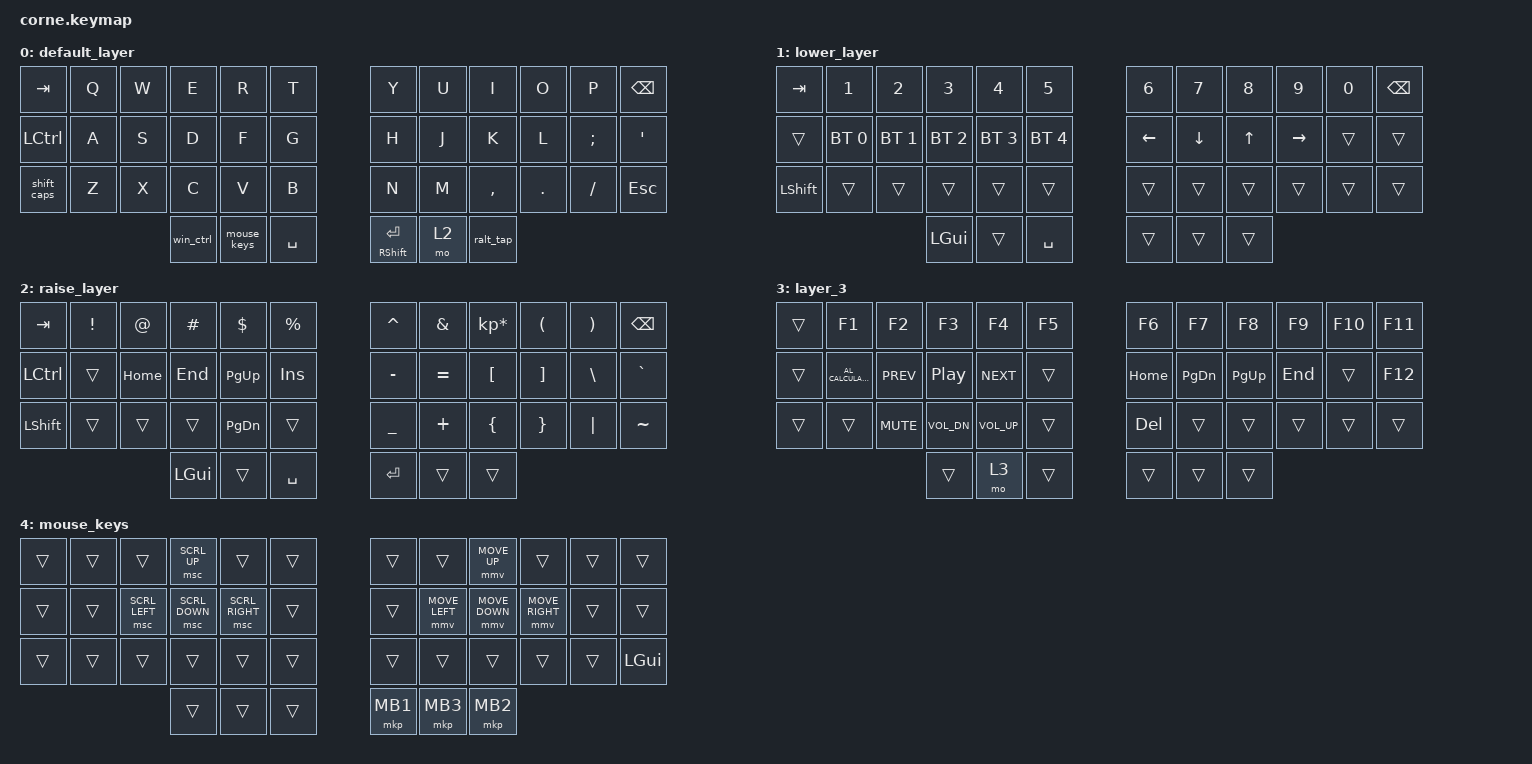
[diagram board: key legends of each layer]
/*
 * Copyright (c) 2020 The ZMK Contributors
 *
 * SPDX-License-Identifier: MIT
 */

#include <behaviors.dtsi>
#include <dt-bindings/zmk/bt.h>
#include <dt-bindings/zmk/keys.h>
#include <dt-bindings/zmk/pointing.h>

/ {
    combos {
        compatible = "zmk,combos";

        BT_Clear {
            bindings = <&bt BT_CLR>;
            key-positions = <5 6 37 40>;
        };
    };

    behaviors {
        win_ctrl: win_ctrl {
            compatible = "zmk,behavior-tap-dance";
            label = "WIN_CTRL";
            #binding-cells = <0>;
            tapping-term-ms = <200>;
            bindings = <&kp LGUI>, <&kp LEFT_CONTROL>;
        };

        shift_caps: shift_caps {
            compatible = "zmk,behavior-tap-dance";
            label = "SHIFT_CAPS";
            #binding-cells = <0>;
            bindings = <&kp LEFT_SHIFT>, <&kp CAPS>;

            tapping-term-ms = <200>;
        };

        mouse_keys: mouse_keys {
            compatible = "zmk,behavior-tap-dance";
            label = "MOUSE_KEYS";
            #binding-cells = <0>;
            bindings = <&mo 1>, <&mo 4>;

            tapping-term-ms = <333>;
        };

        ralt_tap: ralt_tap {
            compatible = "zmk,behavior-tap-dance";
            label = "RALT_TAP";
            #binding-cells = <0>;
            tapping-term-ms = <200>;
            bindings = <&kp LALT>, <&kp RALT>;
        };
    };

    keymap {
        compatible = "zmk,keymap";

        default_layer {
            // -----------------------------------------------------------------------------------------
            // |  TAB |  Q  |  W  |  E  |  R  |  T  |   |  Y  |  U   |  I  |  O  |  P  | BKSP |
            // | CTRL |  A  |  S  |  D  |  F  |  G  |   |  H  |  J   |  K  |  L  |  ;  |  '   |
            // | SHFT |  Z  |  X  |  C  |  V  |  B  |   |  N  |  M   |  ,  |  .  |  /  | ESC  |
            //                    | GUI | LWR | SPC |   | ENT | RSE  | ALT |

            bindings = <
&kp TAB      &kp Q  &kp W  &kp E      &kp R        &kp T        &kp Y              &kp U  &kp I      &kp O    &kp P     &kp BSPC
&kp LCTRL    &kp A  &kp S  &kp D      &kp F        &kp G        &kp H              &kp J  &kp K      &kp L    &kp SEMI  &kp SQT
&shift_caps  &kp Z  &kp X  &kp C      &kp V        &kp B        &kp N              &kp M  &kp COMMA  &kp DOT  &kp FSLH  &kp ESC
                           &win_ctrl  &mouse_keys  &kp SPACE    &mt RSHIFT RETURN  &mo 2  &ralt_tap
            >;
        };

        lower_layer {
            // -----------------------------------------------------------------------------------------
            // |  TAB |  1  |  2  |  3  |  4  |  5  |   |  6  |  7  |  8  |  9  |  0  | BKSP |
            // | BTCLR| BT1 | BT2 | BT3 | BT4 | BT5 |   | LFT | DWN |  UP | RGT |     |      |
            // | SHFT |     |     |     |     |     |   |     |     |     |     |     |      |
            //                    | GUI |     | SPC |   | ENT |     | ALT |

            bindings = <
&kp TAB    &kp N1        &kp N2        &kp N3        &kp N4        &kp N5          &kp N6    &kp N7    &kp N8  &kp N9     &kp N0  &kp BSPC
&trans     &bt BT_SEL 0  &bt BT_SEL 1  &bt BT_SEL 2  &bt BT_SEL 3  &bt BT_SEL 4    &kp LEFT  &kp DOWN  &kp UP  &kp RIGHT  &trans  &trans
&kp LSHFT  &trans        &trans        &trans        &trans        &trans          &trans    &trans    &trans  &trans     &trans  &trans
                                       &kp LGUI      &trans        &kp SPACE       &trans    &trans    &trans
            >;
        };

        raise_layer {
            // -----------------------------------------------------------------------------------------
            // |  TAB |  !  |  @  |  #  |  $  |  %  |   |  ^  |  &  |  *  |  (  |  )  | BKSP |
            // | CTRL |     |     |     |     |     |   |  -  |  =  |  [  |  ]  |  \  |  `   |
            // | SHFT |     |     |     |     |     |   |  _  |  +  |  {  |  }  | "|" |  ~   |
            //                    | GUI |     | SPC |   | ENT |     | ALT |

            bindings = <
&kp TAB    &kp EXCL  &kp AT    &kp HASH  &kp DLLR       &kp PRCNT    &kp CARET  &kp AMPS   &kp KP_MULTIPLY  &kp LPAR  &kp RPAR  &kp BSPC
&kp LCTRL  &trans    &kp HOME  &kp END   &kp PAGE_UP    &kp INS      &kp MINUS  &kp EQUAL  &kp LBKT         &kp RBKT  &kp BSLH  &kp GRAVE
&kp LSHFT  &trans    &trans    &trans    &kp PAGE_DOWN  &trans       &kp UNDER  &kp PLUS   &kp LBRC         &kp RBRC  &kp PIPE  &kp TILDE
                               &kp LGUI  &trans         &kp SPACE    &kp RET    &trans     &trans
            >;
        };

        layer_3 {
            bindings = <
&trans  &kp F1               &kp F2      &kp F3            &kp F4        &kp F5    &kp F6      &kp F7         &kp F8       &kp F9   &kp F10  &kp F11
&trans  &kp C_AL_CALCULATOR  &kp C_PREV  &kp C_PLAY_PAUSE  &kp C_NEXT    &trans    &kp HOME    &kp PAGE_DOWN  &kp PAGE_UP  &kp END  &trans   &kp F12
&trans  &trans               &kp C_MUTE  &kp C_VOL_DN      &kp C_VOL_UP  &trans    &kp DELETE  &trans         &trans       &trans   &trans   &trans
                                         &trans            &mo 3         &trans    &trans      &trans         &trans
            >;
        };

        mouse_keys {
            bindings = <
&trans  &trans  &trans          &msc SCRL_UP    &trans           &trans    &trans    &trans          &mmv MOVE_UP    &trans           &trans  &trans
&trans  &trans  &msc SCRL_LEFT  &msc SCRL_DOWN  &msc SCRL_RIGHT  &trans    &trans    &mmv MOVE_LEFT  &mmv MOVE_DOWN  &mmv MOVE_RIGHT  &trans  &trans
&trans  &trans  &trans          &trans          &trans           &trans    &trans    &trans          &trans          &trans           &trans  &kp LEFT_GUI
                                &trans          &trans           &trans    &mkp MB1  &mkp MB3        &mkp MB2
            >;
        };
    };

    conditional_layers {
        compatible = "zmk,conditional-layers";

        Layer3 {
            if-layers = <1 2>;
            then-layer = <3>;
        };
    };
};
